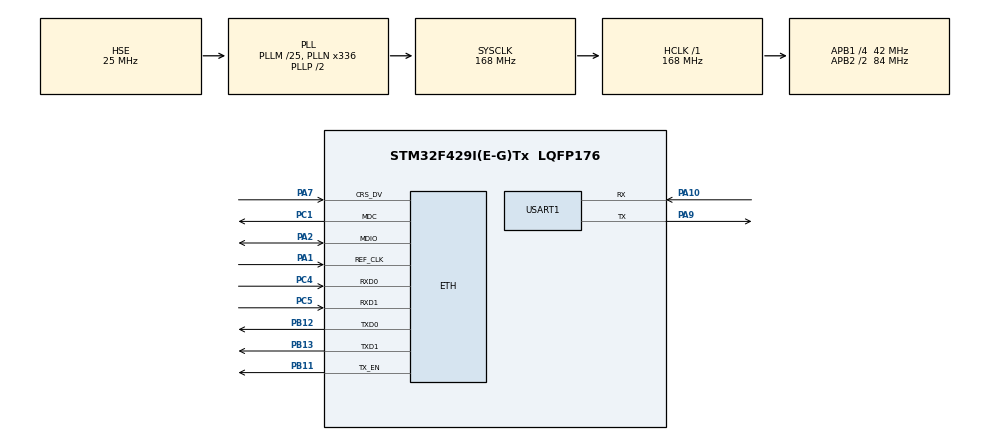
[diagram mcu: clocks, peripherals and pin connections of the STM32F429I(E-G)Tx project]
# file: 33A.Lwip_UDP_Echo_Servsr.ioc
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ETH.MediaInterface=HAL_ETH_RMII_MODE
LWIP.BSP.number=1
LWIP.GATEWAY_ADDRESS=192.168.045.001
LWIP.IP_ADDRESS=192.168.045.254
LWIP.LWIP_DHCP=0
LWIP.NETMASK_ADDRESS=255.255.255.000
LWIP.Version=v2.1.2_Cube
LWIP0.BSP.STBoard=false
LWIP0.BSP.api=BSP_COMPONENT_DRIVER
LWIP0.BSP.component=DP83848
LWIP0.BSP.instance=DP83848
LWIP0.BSP.name=Driver_PHY
LWIP0.BSP.semaphore=S_DP83848
LWIP0.BSP.solution=DP83848
Mcu.Family=STM32F4
Mcu.Name=STM32F429I(E-G)Tx
Mcu.Package=LQFP176
NVIC.PriorityGroup=NVIC_PRIORITYGROUP_4
PA1.Mode=RMII
PA1.Signal=ETH_REF_CLK
PA10.Mode=Asynchronous
PA10.Signal=USART1_RX
PA13.Mode=Serial_Wire
PA13.Signal=SYS_JTMS-SWDIO
PA14.Mode=Serial_Wire
PA14.Signal=SYS_JTCK-SWCLK
PA2.Mode=RMII
PA2.Signal=ETH_MDIO
PA7.Mode=RMII
PA7.Signal=ETH_CRS_DV
PA9.Mode=Asynchronous
PA9.Signal=USART1_TX
PB11.Mode=RMII
PB11.Signal=ETH_TX_EN
PB12.Mode=RMII
PB12.Signal=ETH_TXD0
PB13.Mode=RMII
PB13.Signal=ETH_TXD1
PC1.Mode=RMII
PC1.Signal=ETH_MDC
PC4.Mode=RMII
PC4.Signal=ETH_RXD0
PC5.Mode=RMII
PC5.Signal=ETH_RXD1
PH0/OSC_IN.Mode=HSE-External-Oscillator
PH0/OSC_IN.Signal=RCC_OSC_IN
PH1/OSC_OUT.Mode=HSE-External-Oscillator
PH1/OSC_OUT.Signal=RCC_OSC_OUT
ProjectManager.HeapSize=0x200
ProjectManager.StackSize=0x400
ProjectManager.TargetToolchain=STM32CubeIDE
RCC.48MHZClocksFreq_Value=84000000
RCC.AHBFreq_Value=168000000
RCC.APB1CLKDivider=RCC_HCLK_DIV4
RCC.APB1Freq_Value=42000000
RCC.APB1TimFreq_Value=84000000
RCC.APB2CLKDivider=RCC_HCLK_DIV2
RCC.APB2Freq_Value=84000000
RCC.APB2TimFreq_Value=168000000
RCC.CortexFreq_Value=168000000
RCC.HCLKFreq_Value=168000000
RCC.HSE_VALUE=25000000
RCC.HSI_VALUE=16000000
RCC.LSE_VALUE=32768
RCC.PLLM=25
RCC.PLLN=336
RCC.PLLSourceVirtual=RCC_PLLSOURCE_HSE
RCC.SYSCLKFreq_VALUE=168000000
RCC.SYSCLKSource=RCC_SYSCLKSOURCE_PLLCLK
RCC.VCOOutputFreq_Value=336000000
USART1.VirtualMode=VM_ASYNC
VP_LWIP_VS_Enabled.Mode=Enabled
board=custom

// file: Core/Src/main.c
/* USER CODE BEGIN Header */
/**
  ******************************************************************************
  * @file           : main.c
  * @brief          : Main program body
  ******************************************************************************
  * @attention
  *
  * Copyright (c) 2024 STMicroelectronics.
  * All rights reserved.
  *
  * This software is licensed under terms that can be found in the LICENSE file
  * in the root directory of this software component.
  * If no LICENSE file comes with this software, it is provided AS-IS.
  *
  ******************************************************************************
  */
/* USER CODE END Header */
#include "main.h"
#include "lwip.h"
#include "usart.h"
#include "gpio.h"

/* USER CODE BEGIN Includes */
#include "udp_echoserver.h"
/* USER CODE END Includes */

/* USER CODE BEGIN PD */
#define LED1_Pin GPIO_PIN_6
#define LED1_GPIO_Port GPIOF
#define LED2_Pin GPIO_PIN_7
#define LED2_GPIO_Port GPIOF
#define LED3_Pin GPIO_PIN_8
#define LED3_GPIO_Port GPIOF
#define LED4_Pin GPIO_PIN_9
#define LED4_GPIO_Port GPIOF

/* USER CODE END PD */

/* USER CODE BEGIN PV */
extern uint8_t udp_data;
extern uint8_t udp_flag;
uint8_t SW1_flag = 0;
uint8_t SW2_flag = 0;
uint8_t SW3_flag = 0;

/* USER CODE END PV */

void SystemClock_Config(void);

int main(void)
{

  /* MCU Configuration--------------------------------------------------------*/

  /* Reset of all peripherals, Initializes the Flash interface and the Systick. */
  HAL_Init();

  /* Configure the system clock */
  SystemClock_Config();

  /* Initialize all configured peripherals */
  MX_GPIO_Init();
  MX_USART1_UART_Init();
  MX_LWIP_Init();
  /* USER CODE BEGIN 2 */

  /* Configure the Network interface */
  //Netif_Config();

  /* tcp echo server Init */
  udp_echoserver_init();

  /* USER CODE END 2 */

  /* Infinite loop */
  /* USER CODE BEGIN WHILE */
  printf("welcome to www.waveshere.com !!!\n\r");

  while (1)
  {
	if(udp_flag)
	{
		udp_flag = 0;

		switch(udp_data)
		{
		case '1': SW1_flag = 1; break;
		case '2': SW2_flag = 1; break;
		case '3': SW3_flag = 1; break;
		}

		if(SW1_flag){
			SW1_flag = 0;
			HAL_GPIO_TogglePin(LED1_GPIO_Port,LED1_Pin);
			HAL_Delay(200);

		}
		else if(SW2_flag){
			SW2_flag = 0;
			HAL_GPIO_TogglePin(LED2_GPIO_Port,LED2_Pin);
			HAL_Delay(200);

		}
		else if(SW3_flag){
			SW3_flag = 0;
			HAL_GPIO_TogglePin(LED3_GPIO_Port,LED3_Pin);
			HAL_Delay(200);

		}

	}
    /* USER CODE END WHILE */

    /* USER CODE BEGIN 3 */
	/* Read a received packet from the Ethernet buffers and send it
	   to the lwIP for handling */
	ethernetif_input(&gnetif);

	/* Handle timeouts */
	sys_check_timeouts();
  }
  /* USER CODE END 3 */
}

void SystemClock_Config(void)
{
  RCC_OscInitTypeDef RCC_OscInitStruct = {0};
  RCC_ClkInitTypeDef RCC_ClkInitStruct = {0};

  /** Configure the main internal regulator output voltage
  */
  __HAL_RCC_PWR_CLK_ENABLE();
  __HAL_PWR_VOLTAGESCALING_CONFIG(PWR_REGULATOR_VOLTAGE_SCALE1);

  /** Initializes the RCC Oscillators according to the specified parameters
  * in the RCC_OscInitTypeDef structure.
  */
  RCC_OscInitStruct.OscillatorType = RCC_OSCILLATORTYPE_HSE;
  RCC_OscInitStruct.HSEState = RCC_HSE_ON;
  RCC_OscInitStruct.PLL.PLLState = RCC_PLL_ON;
  RCC_OscInitStruct.PLL.PLLSource = RCC_PLLSOURCE_HSE;
  RCC_OscInitStruct.PLL.PLLM = 25;
  RCC_OscInitStruct.PLL.PLLN = 336;
  RCC_OscInitStruct.PLL.PLLP = RCC_PLLP_DIV2;
  RCC_OscInitStruct.PLL.PLLQ = 4;
  if (HAL_RCC_OscConfig(&RCC_OscInitStruct) != HAL_OK)
  {
    Error_Handler();
  }

  /** Initializes the CPU, AHB and APB buses clocks
  */
  RCC_ClkInitStruct.ClockType = RCC_CLOCKTYPE_HCLK|RCC_CLOCKTYPE_SYSCLK
                              |RCC_CLOCKTYPE_PCLK1|RCC_CLOCKTYPE_PCLK2;
  RCC_ClkInitStruct.SYSCLKSource = RCC_SYSCLKSOURCE_PLLCLK;
  RCC_ClkInitStruct.AHBCLKDivider = RCC_SYSCLK_DIV1;
  RCC_ClkInitStruct.APB1CLKDivider = RCC_HCLK_DIV4;
  RCC_ClkInitStruct.APB2CLKDivider = RCC_HCLK_DIV2;

  if (HAL_RCC_ClockConfig(&RCC_ClkInitStruct, FLASH_LATENCY_5) != HAL_OK)
  {
    Error_Handler();
  }
}

void Error_Handler(void)
{
  __disable_irq();
  while (1)
  {
  }
}
